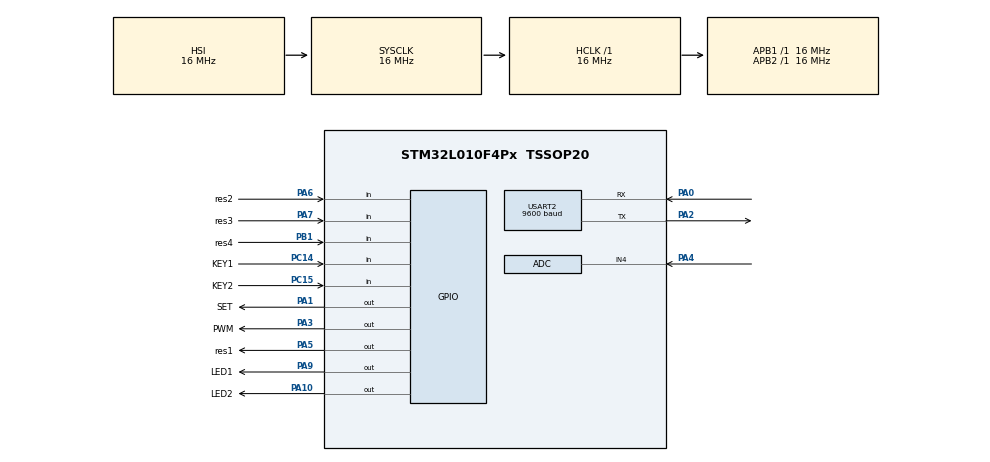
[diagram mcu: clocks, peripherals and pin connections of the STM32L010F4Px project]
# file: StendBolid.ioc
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Mcu.Family=STM32L0
Mcu.Name=STM32L010F4Px
Mcu.Package=TSSOP20
NVIC.TIM21_IRQn=true\:0\:0\:false\:false\:true\:true\:true
NVIC.USART2_IRQn=true\:0\:0\:false\:false\:true\:true\:true
PA0-CK_IN.Mode=Asynchronous
PA0-CK_IN.Signal=USART2_RX
PA1.GPIO_Label=SET
PA1.GPIO_Speed=GPIO_SPEED_FREQ_HIGH
PA1.Signal=GPIO_Output
PA10.GPIO_Label=LED2
PA10.Signal=GPIO_Output
PA13.Mode=Serial_Wire
PA13.Signal=SYS_SWDIO
PA14.Mode=Serial_Wire
PA14.Signal=SYS_SWCLK
PA2.Mode=Asynchronous
PA2.Signal=USART2_TX
PA3.GPIO_Label=PWM
PA3.GPIO_Speed=GPIO_SPEED_FREQ_HIGH
PA3.PinState=GPIO_PIN_RESET
PA3.Signal=GPIO_Output
PA4.Mode=IN4
PA4.Signal=ADC_IN4
PA5.GPIO_Label=res1
PA5.GPIO_Speed=GPIO_SPEED_FREQ_HIGH
PA5.Signal=GPIO_Output
PA6.GPIO_Label=res2
PA6.Signal=GPIO_Input
PA7.GPIO_Label=res3
PA7.Signal=GPIO_Input
PA9.GPIO_Label=LED1
PA9.Signal=GPIO_Output
PB1.GPIO_Label=res4
PB1.Signal=GPIO_Input
PC14-OSC32_IN.GPIO_Label=KEY1
PC14-OSC32_IN.GPIO_PuPd=GPIO_PULLUP
PC14-OSC32_IN.Signal=GPIO_Input
PC15-OSC32_OUT.GPIO_Label=KEY2
PC15-OSC32_OUT.GPIO_PuPd=GPIO_PULLUP
PC15-OSC32_OUT.Signal=GPIO_Input
ProjectManager.HeapSize=0x200
ProjectManager.StackSize=0x400
ProjectManager.TargetToolchain=MDK-ARM V5
RCC.AHBFreq_Value=16000000
RCC.APB1Freq_Value=16000000
RCC.APB1TimFreq_Value=16000000
RCC.APB2Freq_Value=16000000
RCC.APB2TimFreq_Value=16000000
RCC.HCLKFreq_Value=16000000
RCC.HSE_VALUE=8000000
RCC.HSI16_VALUE=16000000
RCC.HSI_VALUE=16000000
RCC.LSE_VALUE=32768
RCC.MSI_VALUE=2097000
RCC.PLLDIV=RCC_PLLDIV_3
RCC.PWR_Regulator_Voltage_Scale=PWR_REGULATOR_VOLTAGE_SCALE2
RCC.SYSCLKFreq_VALUE=16000000
RCC.SYSCLKSource=RCC_SYSCLKSOURCE_HSI
RCC.VCOOutputFreq_Value=48000000
RCC.VDD_VALUE=1.8
TIM21.Period=500
TIM21.Prescaler=0
USART2.BaudRate=9600
USART2.VirtualMode=VM_ASYNC
VP_TIM21_VS_ClockSourceINT.Mode=Internal
board=custom

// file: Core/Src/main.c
/* USER CODE BEGIN Header */
/**
  ******************************************************************************
  * @file           : main.c
  * @brief          : Main program body
  ******************************************************************************
  * @attention
  *
  * <h2><center>&copy; Copyright (c) 2021 STMicroelectronics.
  * All rights reserved.</center></h2>
  *
  * This software component is licensed by ST under BSD 3-Clause license,
  * the "License"; You may not use this file except in compliance with the
  * License. You may obtain a copy of the License at:
  *                        opensource.org/licenses/BSD-3-Clause
  *
  ******************************************************************************
  */
/* USER CODE END Header */
#include "main.h"

/* USER CODE BEGIN Includes */
#include "typedef.h"
#include "hdlc.h"
#include "button.h"

/* USER CODE END Includes */

ADC_HandleTypeDef hadc;

TIM_HandleTypeDef htim21;

UART_HandleTypeDef huart2;

void SystemClock_Config(void);
static void MX_GPIO_Init(void);
static void MX_TIM21_Init(void);
static void MX_USART2_UART_Init(void);
static void MX_ADC_Init(void);
/* USER CODE BEGIN PFP */

pwmStateHeader pwm;
uint8_t recUart;
extern interfaceHDLC_TX masterTX;
extern interfaceHDLC_RX masterRX;

buttonStructHeader KeyA;
buttonStructHeader KeyB;

uint16_t readADC;

/* USER CODE END PFP */

/* USER CODE BEGIN 0 */
void HAL_TIM_PeriodElapsedCallback(TIM_HandleTypeDef *htim)
{
        if(htim->Instance == TIM21) //check if the interrupt comes from TIM1
        {
					if(pwm.value == 0)
						HAL_GPIO_WritePin(GPIOA, PWM_Pin, GPIO_PIN_RESET);
					if(pwm.value == 255)
						HAL_GPIO_WritePin(GPIOA, PWM_Pin, GPIO_PIN_SET);
					if(pwm.enable == 0)
						return;
					if(++pwm.count == pwm.countMax)
					{
						pwm.count = 0;
						HAL_GPIO_WritePin(GPIOA, PWM_Pin, GPIO_PIN_SET);
//				    ProcessKey(&KeyA);
//						ProcessKey(&KeyB);
					}
					if(pwm.count == pwm.value)
					{
						HAL_GPIO_WritePin(GPIOA, PWM_Pin, GPIO_PIN_RESET);
					}
				}

}

void HAL_UART_RxCpltCallback(UART_HandleTypeDef *huart)
{
	switch((uint32_t)huart->Instance)
	{
		case (uint32_t)USART2: // 433MHz
					recHDLC(recUart);
					if(recUart == 0x55)
								HAL_GPIO_TogglePin(GPIOA, LED2_Pin);

					HAL_UART_Receive_IT(&huart2, (void *)&recUart, 1);
					break;
	}
	__NOP();
}

void sendAnswer (uint8_t Command, uint8_t* buff, uint8_t count)
{

	struct_HDLC_Header MasterHDLC;

	HAL_GPIO_WritePin(res1_GPIO_Port,res1_Pin,GPIO_PIN_SET); // на передачу
	HAL_GPIO_WritePin(SET_GPIO_Port, SET_Pin ,GPIO_PIN_SET); // на передачу
  HAL_Delay(1);
	MasterHDLC.ADR_DST = 0x31;
	MasterHDLC.ADR_SRC = 0x32;
	send_Master_HDLC (MasterHDLC,Command, (char*)buff, count);

	HAL_GPIO_WritePin(SET_GPIO_Port, SET_Pin ,GPIO_PIN_RESET); // на прием
	HAL_GPIO_WritePin(res1_GPIO_Port,res1_Pin,GPIO_PIN_RESET); // на прием

}

void led1 (uint8_t on)
{
	if(on == 0)
		HAL_GPIO_WritePin(GPIOA, LED1_Pin, GPIO_PIN_SET);
	else
		HAL_GPIO_WritePin(GPIOA, LED1_Pin, GPIO_PIN_RESET);
}

void led2 (uint8_t on)
{
	if(on == 0)
		HAL_GPIO_WritePin(GPIOA, LED2_Pin, GPIO_PIN_SET);
	else
		HAL_GPIO_WritePin(GPIOA, LED2_Pin, GPIO_PIN_RESET);
}

void DIM_Delay(uint32_t time)
{
	while(time--)
	{
	}
}

/* USER CODE END 0 */

int main(void)
{
  /* USER CODE BEGIN 1 */
	uint8_t bufAnsw[10];

  /* USER CODE END 1 */

  /* MCU Configuration--------------------------------------------------------*/

  /* Reset of all peripherals, Initializes the Flash interface and the Systick. */
  HAL_Init();

  /* Configure the system clock */
  SystemClock_Config();

  /* Initialize all configured peripherals */
  MX_GPIO_Init();
  MX_TIM21_Init();
  MX_USART2_UART_Init();
  MX_ADC_Init();
  /* USER CODE BEGIN 2 */

	pwm.countMax = 255;
	pwm.count = 0;
	pwm.enable = 1;
	pwm.value = 128;
	pwm.state = 0;

	HAL_TIM_Base_Start_IT(&htim21);
	HAL_UART_Receive_IT(&huart2, (void *)&recUart, 1);

//	HAL_GPIO_WritePin(res1_GPIO_Port,res1_Pin,GPIO_PIN_RESET); // на приеме
//	HAL_GPIO_WritePin(SET_GPIO_Port, SET_Pin ,GPIO_PIN_RESET); // на приеме

  HAL_GPIO_WritePin(GPIOA, LED1_Pin | LED2_Pin, GPIO_PIN_SET);
//	KeyInit(&KeyA,KEY1_GPIO_Port,KEY1_Pin,7,250);
//	KeyInit(&KeyB,KEY2_GPIO_Port,KEY2_Pin,7,250);

  /* USER CODE END 2 */

  /* Infinite loop */
  /* USER CODE BEGIN WHILE */
  while (1)
  {

//		HAL_GPIO_TogglePin(GPIOA, LED1_Pin);

//		if(masterRX.Command != 0)
//		{
//			switch(masterRX.Command)
//			{
//				case 0x01:
//									pwm.value = masterRX.arg[0];
//									bufAnsw[0] = pwm.value;
//									bufAnsw[1] = pwm.countMax;
//									sendAnswer(masterRX.Command,bufAnsw,2);
//									break;
//				case 0x02:
//									led1(masterRX.arg[0]);
//									sendAnswer(masterRX.Command,bufAnsw,0);
//									break;
//				case 0x03:
//									led2(masterRX.arg[0]);
//									sendAnswer(masterRX.Command,bufAnsw,0);
//									break;
//
//				case 0xff:
//									break;
//				default:
//									break;
//
//			}
//			masterRX.Command = 0;
//		}
//		uint8_t keystat = ReadKey(&KeyA);
//		uint8_t keystatB = ReadKey(&KeyB);
//		sendAnswer(0xf3,bufAnsw,0);
		HAL_Delay(50);

		uint8_t pinState = HAL_GPIO_ReadPin(KEY1_GPIO_Port,KEY1_Pin);
		if(pinState == GPIO_PIN_RESET)
		{
			if(pwm.value < 255)
			{
				pwm.value++;
//				HAL_GPIO_WritePin(LED1_GPIO_Port,LED1_Pin,GPIO_PIN_RESET);
			}
		}
//		else
//				HAL_GPIO_WritePin(LED1_GPIO_Port,LED1_Pin,GPIO_PIN_SET);

		pinState = HAL_GPIO_ReadPin(KEY2_GPIO_Port,KEY2_Pin);
		if(pinState == GPIO_PIN_RESET)
		{
			if(pwm.value > 0)
			{
				pwm.value--;
//				HAL_GPIO_WritePin(LED2_GPIO_Port,LED2_Pin,GPIO_PIN_RESET);
			}
		}
//		else
//				HAL_GPIO_WritePin(LED2_GPIO_Port,LED2_Pin,GPIO_PIN_SET);

//		if(keystat == shortPress)
//		{
////			sendAnswer(0xf2,bufAnsw,0);
//		}
//
//		if(keystatB == shortPress)
//		{
////			sendAnswer(0xf3,bufAnsw,0);
//		}

//		HAL_ADC_Start(&hadc);
//		HAL_ADC_PollForConversion(&hadc, HAL_MAX_DELAY);
//		readADC = (float)HAL_ADC_GetValue(&hadc);
//		HAL_ADC_Stop(&hadc);

    /* USER CODE END WHILE */

  }
}

void SystemClock_Config(void)
{
  RCC_OscInitTypeDef RCC_OscInitStruct = {0};
  RCC_ClkInitTypeDef RCC_ClkInitStruct = {0};
  RCC_PeriphCLKInitTypeDef PeriphClkInit = {0};

  /** Configure the main internal regulator output voltage
  */
  __HAL_PWR_VOLTAGESCALING_CONFIG(PWR_REGULATOR_VOLTAGE_SCALE2);
  /** Initializes the RCC Oscillators according to the specified parameters
  * in the RCC_OscInitTypeDef structure.
  */
  RCC_OscInitStruct.OscillatorType = RCC_OSCILLATORTYPE_HSI;
  RCC_OscInitStruct.HSIState = RCC_HSI_ON;
  RCC_OscInitStruct.HSICalibrationValue = RCC_HSICALIBRATION_DEFAULT;
  RCC_OscInitStruct.PLL.PLLState = RCC_PLL_NONE;
  if (HAL_RCC_OscConfig(&RCC_OscInitStruct) != HAL_OK)
  {
    Error_Handler();
  }
  /** Initializes the CPU, AHB and APB buses clocks
  */
  RCC_ClkInitStruct.ClockType = RCC_CLOCKTYPE_HCLK|RCC_CLOCKTYPE_SYSCLK
                              |RCC_CLOCKTYPE_PCLK1|RCC_CLOCKTYPE_PCLK2;
  RCC_ClkInitStruct.SYSCLKSource = RCC_SYSCLKSOURCE_HSI;
  RCC_ClkInitStruct.AHBCLKDivider = RCC_SYSCLK_DIV1;
  RCC_ClkInitStruct.APB1CLKDivider = RCC_HCLK_DIV1;
  RCC_ClkInitStruct.APB2CLKDivider = RCC_HCLK_DIV1;

  if (HAL_RCC_ClockConfig(&RCC_ClkInitStruct, FLASH_LATENCY_1) != HAL_OK)
  {
    Error_Handler();
  }
  PeriphClkInit.PeriphClockSelection = RCC_PERIPHCLK_USART2;
  PeriphClkInit.Usart2ClockSelection = RCC_USART2CLKSOURCE_PCLK1;
  if (HAL_RCCEx_PeriphCLKConfig(&PeriphClkInit) != HAL_OK)
  {
    Error_Handler();
  }
}

static void MX_ADC_Init(void)
{

  ADC_ChannelConfTypeDef sConfig = {0};

  /** Configure the global features of the ADC (Clock, Resolution, Data Alignment and number of conversion)
  */
  hadc.Instance = ADC1;
  hadc.Init.OversamplingMode = DISABLE;
  hadc.Init.ClockPrescaler = ADC_CLOCK_SYNC_PCLK_DIV2;
  hadc.Init.Resolution = ADC_RESOLUTION_12B;
  hadc.Init.SamplingTime = ADC_SAMPLETIME_1CYCLE_5;
  hadc.Init.ScanConvMode = ADC_SCAN_DIRECTION_FORWARD;
  hadc.Init.DataAlign = ADC_DATAALIGN_RIGHT;
  hadc.Init.ContinuousConvMode = DISABLE;
  hadc.Init.DiscontinuousConvMode = DISABLE;
  hadc.Init.ExternalTrigConvEdge = ADC_EXTERNALTRIGCONVEDGE_NONE;
  hadc.Init.ExternalTrigConv = ADC_SOFTWARE_START;
  hadc.Init.DMAContinuousRequests = DISABLE;
  hadc.Init.EOCSelection = ADC_EOC_SINGLE_CONV;
  hadc.Init.Overrun = ADC_OVR_DATA_PRESERVED;
  hadc.Init.LowPowerAutoWait = DISABLE;
  hadc.Init.LowPowerFrequencyMode = DISABLE;
  hadc.Init.LowPowerAutoPowerOff = DISABLE;
  if (HAL_ADC_Init(&hadc) != HAL_OK)
  {
    Error_Handler();
  }
  /** Configure for the selected ADC regular channel to be converted.
  */
  sConfig.Channel = ADC_CHANNEL_4;
  sConfig.Rank = ADC_RANK_CHANNEL_NUMBER;
  if (HAL_ADC_ConfigChannel(&hadc, &sConfig) != HAL_OK)
  {
    Error_Handler();
  }

}

static void MX_TIM21_Init(void)
{

  TIM_ClockConfigTypeDef sClockSourceConfig = {0};
  TIM_MasterConfigTypeDef sMasterConfig = {0};

  htim21.Instance = TIM21;
  htim21.Init.Prescaler = 0;
  htim21.Init.CounterMode = TIM_COUNTERMODE_UP;
  htim21.Init.Period = 500;
  htim21.Init.ClockDivision = TIM_CLOCKDIVISION_DIV1;
  htim21.Init.AutoReloadPreload = TIM_AUTORELOAD_PRELOAD_DISABLE;
  if (HAL_TIM_Base_Init(&htim21) != HAL_OK)
  {
    Error_Handler();
  }
  sClockSourceConfig.ClockSource = TIM_CLOCKSOURCE_INTERNAL;
  if (HAL_TIM_ConfigClockSource(&htim21, &sClockSourceConfig) != HAL_OK)
  {
    Error_Handler();
  }
  sMasterConfig.MasterOutputTrigger = TIM_TRGO_RESET;
  sMasterConfig.MasterSlaveMode = TIM_MASTERSLAVEMODE_DISABLE;
  if (HAL_TIMEx_MasterConfigSynchronization(&htim21, &sMasterConfig) != HAL_OK)
  {
    Error_Handler();
  }

}

static void MX_USART2_UART_Init(void)
{

  huart2.Instance = USART2;
  huart2.Init.BaudRate = 9600;
  huart2.Init.WordLength = UART_WORDLENGTH_8B;
  huart2.Init.StopBits = UART_STOPBITS_1;
  huart2.Init.Parity = UART_PARITY_NONE;
  huart2.Init.Mode = UART_MODE_TX_RX;
  huart2.Init.HwFlowCtl = UART_HWCONTROL_NONE;
  huart2.Init.OverSampling = UART_OVERSAMPLING_16;
  huart2.Init.OneBitSampling = UART_ONE_BIT_SAMPLE_DISABLE;
  huart2.AdvancedInit.AdvFeatureInit = UART_ADVFEATURE_NO_INIT;
  if (HAL_UART_Init(&huart2) != HAL_OK)
  {
    Error_Handler();
  }

}

static void MX_GPIO_Init(void)
{
  GPIO_InitTypeDef GPIO_InitStruct = {0};

  /* GPIO Ports Clock Enable */
  __HAL_RCC_GPIOC_CLK_ENABLE();
  __HAL_RCC_GPIOA_CLK_ENABLE();
  __HAL_RCC_GPIOB_CLK_ENABLE();

  /*Configure GPIO pin Output Level */
  HAL_GPIO_WritePin(GPIOA, SET_Pin|PWM_Pin|res1_Pin|LED1_Pin
                          |LED2_Pin, GPIO_PIN_RESET);

  /*Configure GPIO pins : KEY1_Pin KEY2_Pin */
  GPIO_InitStruct.Pin = KEY1_Pin|KEY2_Pin;
  GPIO_InitStruct.Mode = GPIO_MODE_INPUT;
  GPIO_InitStruct.Pull = GPIO_PULLUP;
  HAL_GPIO_Init(GPIOC, &GPIO_InitStruct);

  /*Configure GPIO pins : SET_Pin PWM_Pin res1_Pin */
  GPIO_InitStruct.Pin = SET_Pin|PWM_Pin|res1_Pin;
  GPIO_InitStruct.Mode = GPIO_MODE_OUTPUT_PP;
  GPIO_InitStruct.Pull = GPIO_NOPULL;
  GPIO_InitStruct.Speed = GPIO_SPEED_FREQ_HIGH;
  HAL_GPIO_Init(GPIOA, &GPIO_InitStruct);

  /*Configure GPIO pins : res2_Pin res3_Pin */
  GPIO_InitStruct.Pin = res2_Pin|res3_Pin;
  GPIO_InitStruct.Mode = GPIO_MODE_INPUT;
  GPIO_InitStruct.Pull = GPIO_NOPULL;
  HAL_GPIO_Init(GPIOA, &GPIO_InitStruct);

  /*Configure GPIO pin : res4_Pin */
  GPIO_InitStruct.Pin = res4_Pin;
  GPIO_InitStruct.Mode = GPIO_MODE_INPUT;
  GPIO_InitStruct.Pull = GPIO_NOPULL;
  HAL_GPIO_Init(res4_GPIO_Port, &GPIO_InitStruct);

  /*Configure GPIO pins : LED1_Pin LED2_Pin */
  GPIO_InitStruct.Pin = LED1_Pin|LED2_Pin;
  GPIO_InitStruct.Mode = GPIO_MODE_OUTPUT_PP;
  GPIO_InitStruct.Pull = GPIO_NOPULL;
  GPIO_InitStruct.Speed = GPIO_SPEED_FREQ_LOW;
  HAL_GPIO_Init(GPIOA, &GPIO_InitStruct);

}

void Error_Handler(void)
{
  __disable_irq();
  while (1)
  {
  }
}

/************************ (C) COPYRIGHT STMicroelectronics *****END OF FILE****/
